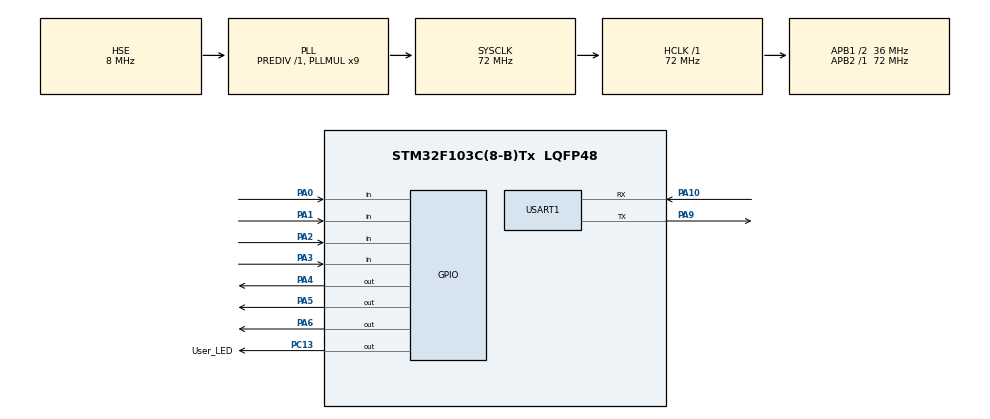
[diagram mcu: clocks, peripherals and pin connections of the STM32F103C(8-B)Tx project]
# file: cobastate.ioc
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Mcu.Family=STM32F1
Mcu.Name=STM32F103C(8-B)Tx
Mcu.Package=LQFP48
NVIC.PriorityGroup=NVIC_PRIORITYGROUP_4
PA0-WKUP.GPIO_PuPd=GPIO_PULLUP
PA0-WKUP.Signal=GPIO_Input
PA1.GPIO_PuPd=GPIO_PULLUP
PA1.Signal=GPIO_Input
PA10.Mode=Asynchronous
PA10.Signal=USART1_RX
PA13.Mode=Serial_Wire
PA13.Signal=SYS_JTMS-SWDIO
PA14.Mode=Serial_Wire
PA14.Signal=SYS_JTCK-SWCLK
PA2.GPIO_PuPd=GPIO_PULLUP
PA2.Signal=GPIO_Input
PA3.GPIO_PuPd=GPIO_PULLUP
PA3.Signal=GPIO_Input
PA4.Signal=GPIO_Output
PA5.Signal=GPIO_Output
PA6.Signal=GPIO_Output
PA9.Mode=Asynchronous
PA9.Signal=USART1_TX
PC13-TAMPER-RTC.GPIO_Label=User_LED
PC13-TAMPER-RTC.Signal=GPIO_Output
PD0-OSC_IN.Mode=HSE-External-Oscillator
PD0-OSC_IN.Signal=RCC_OSC_IN
PD1-OSC_OUT.Mode=HSE-External-Oscillator
PD1-OSC_OUT.Signal=RCC_OSC_OUT
ProjectManager.HeapSize=0x200
ProjectManager.StackSize=0x400
ProjectManager.TargetToolchain=STM32CubeIDE
RCC.AHBFreq_Value=72000000
RCC.APB1CLKDivider=RCC_HCLK_DIV2
RCC.APB1Freq_Value=36000000
RCC.APB1TimFreq_Value=72000000
RCC.APB2Freq_Value=72000000
RCC.APB2TimFreq_Value=72000000
RCC.HCLKFreq_Value=72000000
RCC.PLLMUL=RCC_PLL_MUL9
RCC.PLLSourceVirtual=RCC_PLLSOURCE_HSE
RCC.SYSCLKFreq_VALUE=72000000
RCC.SYSCLKSource=RCC_SYSCLKSOURCE_PLLCLK
RCC.USBFreq_Value=72000000
USART1.VirtualMode=VM_ASYNC
board=custom

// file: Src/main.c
/* USER CODE BEGIN Header */
/**
  ******************************************************************************
  * @file           : main.c
  * @brief          : Main program body
  ******************************************************************************
  * @attention
  *
  * <h2><center>&copy; Copyright (c) 2019 STMicroelectronics.
  * All rights reserved.</center></h2>
  *
  * This software component is licensed by ST under BSD 3-Clause license,
  * the "License"; You may not use this file except in compliance with the
  * License. You may obtain a copy of the License at:
  *                        opensource.org/licenses/BSD-3-Clause
  *
  ******************************************************************************
  */
/* USER CODE END Header */

#include "main.h"

UART_HandleTypeDef huart1;

void SystemClock_Config(void);
static void MX_GPIO_Init(void);
static void MX_USART1_UART_Init(void);

/* USER CODE BEGIN 0 */
int tik;
extern char tss;

typedef enum state {st0,st500,st1000,stopen,stkembali} state_t;

state_t presentState;
state_t nextState;

unsigned char bouncing500	=0xFF;
uint32_t Timeout_loop500 	= 0;
uint32_t Timeout_value500 	= 600;

unsigned char bouncing1000	=0xFF;
uint32_t Timeout_loop1000 	= 0;
uint32_t Timeout_value1000 	= 600;

unsigned char bouncingpros	=0xFF;
uint32_t Timeout_looppros 	= 0;
uint32_t Timeout_valuepros 	= 600;

unsigned char bouncingbat	=0xFF;
uint32_t Timeout_loopbat 	= 0;
uint32_t Timeout_valuebat 	= 600;

unsigned char over1000=0,over500=0;
unsigned char flagbat=0;

void kembali500(char on){
	if(on==1){
		HAL_GPIO_WritePin(GPIOA, GPIO_PIN_4, GPIO_PIN_SET);
	}
	else{
		HAL_GPIO_WritePin(GPIOA, GPIO_PIN_4, GPIO_PIN_RESET);
	}
}

void kembali1000(char on){
	if(on==1){
			HAL_GPIO_WritePin(GPIOA, GPIO_PIN_5, GPIO_PIN_SET);
		}
		else{
			HAL_GPIO_WritePin(GPIOA, GPIO_PIN_5, GPIO_PIN_RESET);
		}
}

void opendrink(char on){
	if(on==1){
			HAL_GPIO_WritePin(GPIOA, GPIO_PIN_6, GPIO_PIN_SET);
		}
		else{
			HAL_GPIO_WritePin(GPIOA, GPIO_PIN_6, GPIO_PIN_RESET);
		}
}
const char add=4;
void cekSensor(){
	////////////////////////////////////////////////////////////////////////////////////////////////////////////////////////
	if(HAL_GPIO_ReadPin(GPIOA,GPIO_PIN_0)== GPIO_PIN_RESET && (Timeout_loop500++<=Timeout_value500)){
		bouncing500=(bouncing500<<1);
	}

	else if(HAL_GPIO_ReadPin(GPIOA,GPIO_PIN_0)== GPIO_PIN_RESET && (Timeout_loop500++>Timeout_value500)){
		if(Timeout_loop500>=Timeout_value500+50){
			Timeout_loop500=Timeout_value500+1;
			HAL_GPIO_TogglePin(User_LED_GPIO_Port,User_LED_Pin);
			HAL_UART_Transmit(&huart1,(uint8_t*)"\n\rErr: 005-Sensor3",18,10);
		}
	}

	else if(HAL_GPIO_ReadPin(GPIOA,GPIO_PIN_0)== GPIO_PIN_SET && Timeout_loop500<=Timeout_value500){
		bouncing500 = (bouncing500<<1)|1;
	}

	else{
		Timeout_loop500=0;
		bouncing500=0xFF;
	}

	////////////////////////////////////////////////////////////////////////////////////////////////////////////////////////
	if(HAL_GPIO_ReadPin(GPIOA,GPIO_PIN_1)== GPIO_PIN_RESET && (Timeout_loop1000++<=Timeout_value1000)){
		bouncing1000=(bouncing1000<<1);
	}

	else if(HAL_GPIO_ReadPin(GPIOA,GPIO_PIN_1)== GPIO_PIN_RESET && (Timeout_loop1000++>Timeout_value1000)){
		if(Timeout_loop1000>=Timeout_value1000+50){
			Timeout_loop1000=Timeout_value1000+1;
			HAL_GPIO_TogglePin(User_LED_GPIO_Port,User_LED_Pin);
			HAL_UART_Transmit(&huart1,(uint8_t*)"\n\rErr: 005-Sensor3",18,10);
		}
	}

	else if(HAL_GPIO_ReadPin(GPIOA,GPIO_PIN_1)== GPIO_PIN_SET && Timeout_loop1000<=Timeout_value1000){
		bouncing1000 = (bouncing1000<<1)|1;
	}

	else{
		Timeout_loop1000=0;
		bouncing1000=0xFF;
	}

	////////////////////////////////////////////////////////////////////////////////////////////////////////////////////////
	if(HAL_GPIO_ReadPin(GPIOA,GPIO_PIN_2)== GPIO_PIN_RESET && (Timeout_loopbat++<=Timeout_valuebat)){
		bouncingbat=(bouncingbat<<1);
	}

	else if(HAL_GPIO_ReadPin(GPIOA,GPIO_PIN_2)== GPIO_PIN_RESET && (Timeout_loopbat++>Timeout_valuebat)){
		if(Timeout_loopbat>=Timeout_valuebat+50){
			Timeout_loopbat=Timeout_valuebat+1;
			HAL_GPIO_TogglePin(User_LED_GPIO_Port,User_LED_Pin);
			HAL_UART_Transmit(&huart1,(uint8_t*)"\n\rErr: 005-Sensor3",18,10);
		}
	}

	else if(HAL_GPIO_ReadPin(GPIOA,GPIO_PIN_2)== GPIO_PIN_SET && Timeout_loopbat<=Timeout_valuebat){
		bouncingbat = (bouncingbat<<1)|1;
	}

	else{
		Timeout_loopbat=0;
		bouncingbat=0xFF;
	}

	////////////////////////////////////////////////////////////////////////////////////////////////////////////////////////
	if(HAL_GPIO_ReadPin(GPIOA,GPIO_PIN_3)== GPIO_PIN_RESET && (Timeout_looppros++<=Timeout_valuepros)){
		bouncingpros=(bouncingpros<<1);
	}

	else if(HAL_GPIO_ReadPin(GPIOA,GPIO_PIN_3)== GPIO_PIN_RESET && (Timeout_looppros++>Timeout_valuepros)){
		if(Timeout_looppros>=Timeout_valuepros+50){
			Timeout_looppros=Timeout_valuepros+1;
			HAL_GPIO_TogglePin(User_LED_GPIO_Port,User_LED_Pin);
			HAL_UART_Transmit(&huart1,(uint8_t*)"\n\rErr: 005-Sensor3",18,10);
		}
	}

	else if(HAL_GPIO_ReadPin(GPIOA,GPIO_PIN_3)== GPIO_PIN_SET && Timeout_looppros<=Timeout_valuepros){
		bouncingpros = (bouncingpros<<1)|1;
	}

	else{
		Timeout_looppros=0;
		bouncingpros=0xFF;
	}
}

void dropkoin(void){
	int out;
	if(over1000==1){
		HAL_UART_Transmit(&huart1,(uint8_t*)"Kembalian -> 1000 Rupiah\n\n",27,10);
		for(out=0;out<=2000;out=out+add){
			HAL_GPIO_WritePin(GPIOA, GPIO_PIN_4, GPIO_PIN_RESET);
			HAL_Delay(2);
		}
		HAL_GPIO_WritePin(GPIOA, GPIO_PIN_4, GPIO_PIN_SET);
		over1000=0;
	}
	else if(over500==1){
		HAL_UART_Transmit(&huart1,(uint8_t*)"Kembalian -> 500 Rupiah\n\n",27,10);
		for(out=0;out<=2000;out=out+add){
			HAL_GPIO_WritePin(GPIOA, GPIO_PIN_5, GPIO_PIN_RESET);
			HAL_Delay(2);
		}
		HAL_GPIO_WritePin(GPIOA, GPIO_PIN_5, GPIO_PIN_SET);
		over500=0;
	}
}

void dropcandy(void){
	int out;
	HAL_UART_Transmit(&huart1,(uint8_t*)"---GET YOUR CANDY--- \n\n\n",25,40);
	for(out=10;out>=0;out=out-add){
		HAL_GPIO_WritePin(GPIOA, GPIO_PIN_6, GPIO_PIN_RESET);
		HAL_Delay(200);
	}
	HAL_GPIO_WritePin(GPIOA, GPIO_PIN_6, GPIO_PIN_SET);
	HAL_UART_Transmit(&huart1,(uint8_t*)"==== Vending Machine Simulation V1.0====\n\nMasukkan Uang :\n",60,40);
}

/* USER CODE END 0 */

int main(void)
{

  /* MCU Configuration--------------------------------------------------------*/

  /* Reset of all peripherals, Initializes the Flash interface and the Systick. */
  HAL_Init();

  /* Configure the system clock */
  SystemClock_Config();

  /* Initialize all configured peripherals */
  MX_GPIO_Init();
  MX_USART1_UART_Init();
  /* USER CODE BEGIN 2 */
  HAL_GPIO_WritePin(GPIOA, GPIO_PIN_4, GPIO_PIN_RESET);
  HAL_GPIO_WritePin(GPIOA, GPIO_PIN_5, GPIO_PIN_RESET);
  HAL_GPIO_WritePin(GPIOA, GPIO_PIN_6, GPIO_PIN_RESET);
  HAL_Delay(2000);
  HAL_GPIO_WritePin(GPIOA, GPIO_PIN_4, GPIO_PIN_SET);
  HAL_GPIO_WritePin(GPIOA, GPIO_PIN_5, GPIO_PIN_SET);
  HAL_GPIO_WritePin(GPIOA, GPIO_PIN_6, GPIO_PIN_SET);

  HAL_UART_Transmit(&huart1,(uint8_t*)"==== Vending Machine Simulation V1.0====\n\nMasukkan Uang :\n",60,40);

  /* USER CODE END 2 */

  /* Infinite loop */
  while (1)
  {

    /* USER CODE BEGIN 3 */
	  if(tss==1){
		switch(presentState){

			case st0:
				cekSensor();
				if(bouncing500==0x01){
					HAL_UART_Transmit(&huart1,(uint8_t*)"Anda memasukkan 500 Rupiah\n",28,10);
					nextState=st500;
				}
				else if(bouncing1000==0x01){
					HAL_UART_Transmit(&huart1,(uint8_t*)"Anda memasukkan 1000 Rupiah\n",29,10);
					nextState=st1000;
				}

			break;

			case st500:
				cekSensor();
				if(bouncing500==0x01){
					HAL_UART_Transmit(&huart1,(uint8_t*)"Anda memasukkan 500 Rupiah\n",28,10);
					nextState=st1000;
				}
				else if(bouncing1000==0x01){
					HAL_UART_Transmit(&huart1,(uint8_t*)"Anda memasukkan 1000 Rupiah\n",29,10);
					nextState=stkembali;
					over500=1;
				}
				else if(bouncingbat==0x01){
					HAL_UART_Transmit(&huart1,(uint8_t*)"Anda Membatalkan Transaksi\n\n",30,10);
					nextState=stkembali;
					over500=1;
					flagbat=1;
				}
			break;

			case st1000:
				cekSensor();
				if(bouncing500==0x01){
					HAL_UART_Transmit(&huart1,(uint8_t*)"Anda memasukkan 500 Rupiah\n",28,10);
					nextState=stkembali;
					over500=1;
				}
				else if(bouncing1000==0x01){
					HAL_UART_Transmit(&huart1,(uint8_t*)"Anda memasukkan 1000 Rupiah\n",29,10);
					nextState=stkembali;
					over1000=1;
				}
				else if(bouncingbat==0x01){
					HAL_UART_Transmit(&huart1,(uint8_t*)"Anda Membatalkan Transaksi\n\n",30,10);
					nextState=stkembali;
					over1000=1;
					flagbat=1;
				}
				else if(bouncingpros==0x01){
					nextState=stopen;
				}
			break;

			case stkembali:
				dropkoin();
				if(flagbat==1){
					nextState=st0;
					flagbat=0;
				}
				else if(flagbat==0){
					nextState=st1000;
				}
			break;

			case stopen:
				dropcandy();
				nextState=st0;
			break;

		}
		presentState=nextState;

		HAL_GPIO_WritePin(GPIOC,GPIO_PIN_13,GPIO_PIN_RESET);
		tss=0;
	}
  }
  /* USER CODE END 3 */
}

void SystemClock_Config(void)
{
  RCC_OscInitTypeDef RCC_OscInitStruct = {0};
  RCC_ClkInitTypeDef RCC_ClkInitStruct = {0};

  /** Initializes the CPU, AHB and APB busses clocks
  */
  RCC_OscInitStruct.OscillatorType = RCC_OSCILLATORTYPE_HSE;
  RCC_OscInitStruct.HSEState = RCC_HSE_ON;
  RCC_OscInitStruct.HSEPredivValue = RCC_HSE_PREDIV_DIV1;
  RCC_OscInitStruct.HSIState = RCC_HSI_ON;
  RCC_OscInitStruct.PLL.PLLState = RCC_PLL_ON;
  RCC_OscInitStruct.PLL.PLLSource = RCC_PLLSOURCE_HSE;
  RCC_OscInitStruct.PLL.PLLMUL = RCC_PLL_MUL9;
  if (HAL_RCC_OscConfig(&RCC_OscInitStruct) != HAL_OK)
  {
    Error_Handler();
  }
  /** Initializes the CPU, AHB and APB busses clocks
  */
  RCC_ClkInitStruct.ClockType = RCC_CLOCKTYPE_HCLK|RCC_CLOCKTYPE_SYSCLK
                              |RCC_CLOCKTYPE_PCLK1|RCC_CLOCKTYPE_PCLK2;
  RCC_ClkInitStruct.SYSCLKSource = RCC_SYSCLKSOURCE_PLLCLK;
  RCC_ClkInitStruct.AHBCLKDivider = RCC_SYSCLK_DIV1;
  RCC_ClkInitStruct.APB1CLKDivider = RCC_HCLK_DIV2;
  RCC_ClkInitStruct.APB2CLKDivider = RCC_HCLK_DIV1;

  if (HAL_RCC_ClockConfig(&RCC_ClkInitStruct, FLASH_LATENCY_2) != HAL_OK)
  {
    Error_Handler();
  }
}

static void MX_USART1_UART_Init(void)
{

  huart1.Instance = USART1;
  huart1.Init.BaudRate = 115200;
  huart1.Init.WordLength = UART_WORDLENGTH_8B;
  huart1.Init.StopBits = UART_STOPBITS_1;
  huart1.Init.Parity = UART_PARITY_NONE;
  huart1.Init.Mode = UART_MODE_TX_RX;
  huart1.Init.HwFlowCtl = UART_HWCONTROL_NONE;
  huart1.Init.OverSampling = UART_OVERSAMPLING_16;
  if (HAL_UART_Init(&huart1) != HAL_OK)
  {
    Error_Handler();
  }

}

static void MX_GPIO_Init(void)
{
  GPIO_InitTypeDef GPIO_InitStruct = {0};

  /* GPIO Ports Clock Enable */
  __HAL_RCC_GPIOC_CLK_ENABLE();
  __HAL_RCC_GPIOD_CLK_ENABLE();
  __HAL_RCC_GPIOA_CLK_ENABLE();

  /*Configure GPIO pin Output Level */
  HAL_GPIO_WritePin(User_LED_GPIO_Port, User_LED_Pin, GPIO_PIN_RESET);

  /*Configure GPIO pin Output Level */
  HAL_GPIO_WritePin(GPIOA, GPIO_PIN_4|GPIO_PIN_5|GPIO_PIN_6, GPIO_PIN_RESET);

  /*Configure GPIO pin : User_LED_Pin */
  GPIO_InitStruct.Pin = User_LED_Pin;
  GPIO_InitStruct.Mode = GPIO_MODE_OUTPUT_PP;
  GPIO_InitStruct.Pull = GPIO_NOPULL;
  GPIO_InitStruct.Speed = GPIO_SPEED_FREQ_LOW;
  HAL_GPIO_Init(User_LED_GPIO_Port, &GPIO_InitStruct);

  /*Configure GPIO pins : PA0 PA1 PA2 PA3 */
  GPIO_InitStruct.Pin = GPIO_PIN_0|GPIO_PIN_1|GPIO_PIN_2|GPIO_PIN_3;
  GPIO_InitStruct.Mode = GPIO_MODE_INPUT;
  GPIO_InitStruct.Pull = GPIO_PULLUP;
  HAL_GPIO_Init(GPIOA, &GPIO_InitStruct);

  /*Configure GPIO pins : PA4 PA5 PA6 */
  GPIO_InitStruct.Pin = GPIO_PIN_4|GPIO_PIN_5|GPIO_PIN_6;
  GPIO_InitStruct.Mode = GPIO_MODE_OUTPUT_PP;
  GPIO_InitStruct.Pull = GPIO_NOPULL;
  GPIO_InitStruct.Speed = GPIO_SPEED_FREQ_LOW;
  HAL_GPIO_Init(GPIOA, &GPIO_InitStruct);

}

void Error_Handler(void)
{
}

/************************ (C) COPYRIGHT STMicroelectronics *****END OF FILE****/
